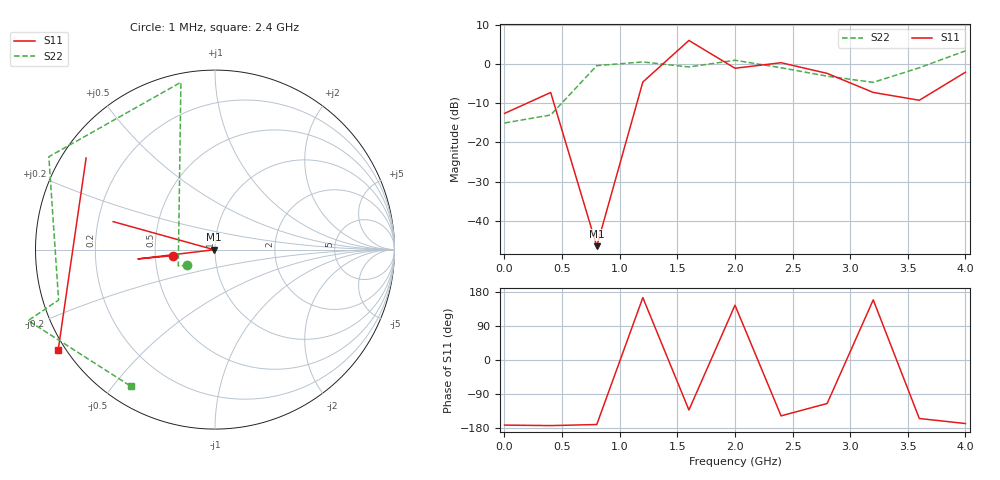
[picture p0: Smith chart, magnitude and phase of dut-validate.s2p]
!Created with skrf (http://scikit-rf.org).
# GHz S DB R 50.0
!freq dBS11 angS11 dBS21 angS21 dBS12 angS12 dBS22 angS22
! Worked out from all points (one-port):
!   11 points, 1 MHz to 4 GHz, reference 50 ohm
!   lowest |S11| = -46.4 dB at 800.8 MHz (marker M1), VSWR 1.01, Z = 49.5 - j0.0797 ohm
!   |S11| at or under -10 dB: start of sweep to 195.9 MHz; 428.8 MHz to 1.149 GHz (720.3 MHz wide, 91.3 % of centre)
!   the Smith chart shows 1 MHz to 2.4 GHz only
0.001  -12.59 -171.8  -200.00 0.0  -200.00 0.0  -15.03 -150.0
0.4009  -7.27 -173.1  -200.00 0.0  -200.00 0.0  -13.01 -156.1
0.8008  -46.42 -170.3  -200.00 0.0  -200.00 0.0  -0.43 101.5
1.2007  -4.61 164.6  -200.00 0.0  -200.00 0.0  0.51 150.8
1.6006  5.98 -131.9  -200.00 0.0  -200.00 0.0  -0.77 -162.1
2.0005  -1.10 144.6  -200.00 0.0  -200.00 0.0  0.93 -159.2
2.4004  0.31 -147.4  -200.00 0.0  -200.00 0.0  -0.97 -121.7
2.8003  -2.41 -114.7  -200.00 0.0  -200.00 0.0  -3.12 130.8
3.2002  -7.26 158.7  -200.00 0.0  -200.00 0.0  -4.69 170.0
3.6001  -9.25 -154.4  -200.00 0.0  -200.00 0.0  -0.97 -143.6
4  -2.12 -167.6  -200.00 0.0  -200.00 0.0  3.34 -128.3
